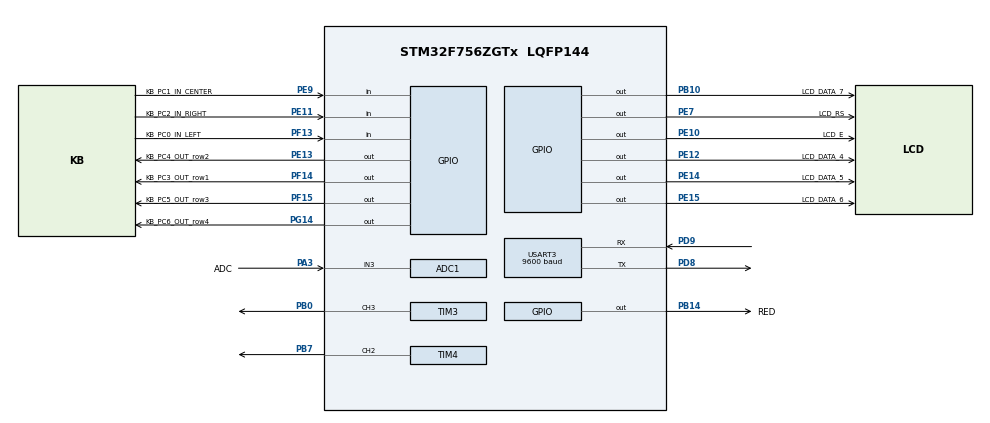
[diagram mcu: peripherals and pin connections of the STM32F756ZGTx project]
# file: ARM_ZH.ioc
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ADC1.Channel-0\#ChannelRegularConversion=ADC_CHANNEL_3
ADC1.NbrOfConversionFlag=1
ADC1.Rank-0\#ChannelRegularConversion=1
ADC1.SamplingTime-0\#ChannelRegularConversion=ADC_SAMPLETIME_3CYCLES
ADC1.master=1
Mcu.Family=STM32F7
Mcu.Name=STM32F756ZGTx
Mcu.Package=LQFP144
NVIC.ADC_IRQn=true\:0\:0\:false\:false\:true\:true\:true
NVIC.PriorityGroup=NVIC_PRIORITYGROUP_4
NVIC.TIM1_UP_TIM10_IRQn=true\:0\:0\:false\:false\:true\:true\:true
NVIC.TIM8_TRG_COM_TIM14_IRQn=true\:0\:0\:false\:false\:true\:true\:true
NVIC.USART3_IRQn=true\:0\:0\:false\:false\:true\:true\:true
PA3.GPIO_Label=ADC
PA3.Signal=ADCx_IN3
PB0.Signal=S_TIM3_CH3
PB10.GPIO_Label=LCD_DATA_7
PB10.Signal=GPIO_Output
PB14.GPIO_Label=RED
PB14.Signal=GPIO_Output
PB7.Signal=S_TIM4_CH2
PD8.Mode=Asynchronous
PD8.Signal=USART3_TX
PD9.Mode=Asynchronous
PD9.Signal=USART3_RX
PE10.GPIO_Label=LCD_E
PE10.Signal=GPIO_Output
PE11.GPIO_Label=KB_PC2_IN_RIGHT
PE11.Signal=GPIO_Input
PE12.GPIO_Label=LCD_DATA_4
PE12.Signal=GPIO_Output
PE13.GPIO_Label=KB_PC4_OUT_row2
PE13.Signal=GPIO_Output
PE14.GPIO_Label=LCD_DATA_5
PE14.Signal=GPIO_Output
PE15.GPIO_Label=LCD_DATA_6
PE15.Signal=GPIO_Output
PE7.GPIO_Label=LCD_RS
PE7.Signal=GPIO_Output
PE9.GPIO_Label=KB_PC1_IN_CENTER
PE9.Signal=GPIO_Input
PF13.GPIO_Label=KB_PC0_IN_LEFT
PF13.Signal=GPIO_Input
PF14.GPIO_Label=KB_PC3_OUT_row1
PF14.Signal=GPIO_Output
PF15.GPIO_Label=KB_PC5_OUT_row3
PF15.Signal=GPIO_Output
PG14.GPIO_Label=KB_PC6_OUT_row4
PG14.Signal=GPIO_Output
ProjectManager.HeapSize=0x200
ProjectManager.StackSize=0x400
ProjectManager.TargetToolchain=STM32CubeIDE
RCC.HSE_VALUE=25000000
RCC.HSI_VALUE=16000000
RCC.LSE_VALUE=32768
RCC.USBFreq_Value=96000000
RCC.VCOOutputFreq_Value=192000000
SH.ADCx_IN3.0=ADC1_IN3,IN3
SH.S_TIM3_CH3.0=TIM3_CH3,PWM Generation3 CH3
SH.S_TIM4_CH2.0=TIM4_CH2,PWM Generation2 CH2
TIM10.AutoReloadPreload=TIM_AUTORELOAD_PRELOAD_ENABLE
TIM10.Period=16000
TIM14.Prescaler=48
TIM3.Channel-PWM\ Generation3\ CH3=TIM_CHANNEL_3
TIM3.Period=100
TIM3.Prescaler=50
TIM3.Pulse-PWM\ Generation3\ CH3=50
TIM4.Channel-PWM\ Generation2\ CH2=TIM_CHANNEL_2
TIM4.Period=100
TIM4.Prescaler=30
TIM4.Pulse-PWM\ Generation2\ CH2=100
USART3.BaudRate=9600
USART3.VirtualMode-Asynchronous=VM_ASYNC
VP_TIM10_VS_ClockSourceINT.Mode=Enable_Timer
VP_TIM14_VS_ClockSourceINT.Mode=Enable_Timer
board=custom

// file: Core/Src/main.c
/* USER CODE BEGIN Header */
/**
  ******************************************************************************
  * @file           : main.c
  * @brief          : Main program body
  ******************************************************************************
  * @attention
  *
  * <h2><center>&copy; Copyright (c) 2021 STMicroelectronics.
  * All rights reserved.</center></h2>
  *
  * This software component is licensed by ST under BSD 3-Clause license,
  * the "License"; You may not use this file except in compliance with the
  * License. You may obtain a copy of the License at:
  *                        opensource.org/licenses/BSD-3-Clause
  *
  ******************************************************************************
  */
/* USER CODE END Header */
#include "main.h"

/* USER CODE BEGIN Includes */
#include "lcd.h"
#include "matrix.h"
#include "String.h"
#include "stdio.h"
/* USER CODE END Includes */

ADC_HandleTypeDef hadc1;

TIM_HandleTypeDef htim3;
TIM_HandleTypeDef htim4;
TIM_HandleTypeDef htim10;
TIM_HandleTypeDef htim14;

UART_HandleTypeDef huart3;

/* USER CODE BEGIN PV */
uint16_t cntr = 0;
uint8_t tmp = 0;
uint8_t irany = 1;
uint8_t ki = 0;
uint8_t pwm = 0;

char row_1[20];
char row_2[20];
char row_3[20];
char row_4[20];
char szoveg[20];

uint8_t tilt = 0;

uint8_t uart = 0;
uint8_t ch = 0;
char str[50];

uint8_t a_off = 0;

uint16_t fesz = 0;

char adc_ki[5];
uint8_t write = 0;

/* USER CODE END PV */

void SystemClock_Config(void);
static void MX_GPIO_Init(void);
static void MX_ADC1_Init(void);
static void MX_TIM10_Init(void);
static void MX_TIM4_Init(void);
static void MX_USART3_UART_Init(void);
static void MX_TIM14_Init(void);
static void MX_TIM3_Init(void);

/* USER CODE BEGIN 0 */

void HAL_TIM_PeriodElapsedCallback (TIM_HandleTypeDef * htim)
{
		cntr++;

		if(cntr == 100)
		{
			if(irany == 0 && tmp == 2)
			{
				irany = 1;
	  			__HAL_TIM_SET_COMPARE(&htim4,TIM_CHANNEL_2,0);
	  			cntr = 0;
			}
			else
			{
				if(irany == 1 && tmp == 2)
				{
					irany = 0;
		  			__HAL_TIM_SET_COMPARE(&htim4,TIM_CHANNEL_2,100);
		  			cntr = 0;
				}
			}
		}

		if(cntr == 500)
		{
			if(irany == 0 && tmp == 3)
			{
				irany = 1;
	  			__HAL_TIM_SET_COMPARE(&htim4,TIM_CHANNEL_2,0);
	  			cntr = 0;
			}
			else
			{
				if(irany == 1 && tmp == 3)
				{
					irany = 0;
		  			__HAL_TIM_SET_COMPARE(&htim4,TIM_CHANNEL_2,100);
		  			cntr = 0;
				}
			}
			cntr = 0;
		}

		if(tmp == 7)
		{
			if(irany == 0 && pwm <= 100)
			{
				__HAL_TIM_SET_COMPARE(&htim4,TIM_CHANNEL_2,pwm);
				pwm++;
			}
			else
			{
				__HAL_TIM_SET_COMPARE(&htim4,TIM_CHANNEL_2,pwm);
				pwm--;
			}
			if(pwm == 100)
			{
				irany = 1;
			}
			if(pwm == 0)
			{
				irany = 0;
			}
		}

		if(htim->Instance == TIM14)
		{
			HAL_ADC_Start(&hadc1);
			uint16_t adc =  HAL_ADC_GetValue(&hadc1);
			fesz = (3300*adc)/4096;

			if(fesz >= 0 && fesz <= 500)
			{
				strcpy(adc_ki,"    ");
				write = 1;
			}
			else
			{
				if(fesz >= 501 && fesz <= 1000)
				{
					strcpy(adc_ki,"X   ");
					write = 1;
				}
				else
				{
					if(fesz >= 1001 && fesz <= 2000)
					{
						strcpy(adc_ki,"XX  ");
						write = 1;
					}
					else
					{
						if(fesz >= 2001 && fesz <= 3000)
						{
							strcpy(adc_ki,"XXX ");
							write = 1;
						}
						else
						{
							strcpy(adc_ki,"XXXX");
							write = 1;
						}
					}
				}
			}

			HAL_GPIO_TogglePin(RED_GPIO_Port, RED_Pin);

		}
}

void LCD ()
{
	char out[2];
	sprintf(out,"%d",tmp);

	HAL_UART_Transmit(&huart3, (uint8_t*) out, sizeof(out), HAL_MAX_DELAY);

	strcpy(row_1,row_2);
	strcpy(row_2,row_3);
	strcpy(row_3,row_4);
	strcpy(row_4,szoveg);

	LCD_cmd(0x01);

	LCD_xy(0,1);
	LCD_string(row_1);

	LCD_xy(0,2);
	LCD_string(row_2);

	LCD_xy(0,3);
	LCD_string(row_3);

	LCD_xy(0,4);
	LCD_string(row_4);

}

void HAL_UART_RxCpltCallback(UART_HandleTypeDef *huart)
{
		if(uart == 13)
		{
			if(strcmp(str,"") == 0)
			{
				tilt = 0;
				ch = 0;
			}
			else
			{
				if(strcmp(str,"A_OFF") == 0)
				{
					a_off = 1;
					ch = 0;
					tilt = 0;
				}
				else
				{
					if(strcmp(str,"D_OFF") == 0)
					{
						a_off = 0;
						ch = 0;
						tilt = 0;
					}
				}
			}

		}
		else
		{
			str[ch++] = uart;
		}

		HAL_UART_Receive_IT(&huart3, &uart, 1);

}

/* USER CODE END 0 */

int main(void)
{

  /* MCU Configuration--------------------------------------------------------*/

  /* Reset of all peripherals, Initializes the Flash interface and the Systick. */
  HAL_Init();

  /* Configure the system clock */
  SystemClock_Config();

  /* Initialize all configured peripherals */
  MX_GPIO_Init();
  MX_ADC1_Init();
  MX_TIM10_Init();
  MX_TIM4_Init();
  MX_USART3_UART_Init();
  MX_TIM14_Init();
  MX_TIM3_Init();
  /* USER CODE BEGIN 2 */
  LCD_init();
  LCD_cmd(0x01);
  HAL_TIM_PWM_Start(&htim4, TIM_CHANNEL_2);
  HAL_TIM_Base_Start_IT(&htim10);
  HAL_TIM_Base_Start_IT(&htim14);
  HAL_TIM_PWM_Start(&htim3, TIM_CHANNEL_3);
  /* USER CODE END 2 */

  /* Infinite loop */
  /* USER CODE BEGIN WHILE */
  while (1)
  {
	  matrix_search();
	  int num = get_key();
	  if(num < 12)
	  {
		  switch(num)
		  {
		  	case 1:
		  		if(tilt == 0)
		  		{
			  		if(tmp != 1 && ki == 0)
			  		{
			  			__HAL_TIM_SET_COMPARE(&htim4,TIM_CHANNEL_2,20);
			  			ki = 1;
			  			tmp = 1;
			  		}
			  		else
			  		{
			  			if(tmp == 1 && ki ==1)
			  			{
			  				__HAL_TIM_SET_COMPARE(&htim4,TIM_CHANNEL_2,0);
			  				ki = 0;
			  				strcpy(szoveg,"OFF");
			  				LCD();
			  			}
			  		}
		  		}
		  	break;

		  	case 2:
		  		if(tmp!=2 && tilt == 0 && a_off == 0)
		  		{
		  			tmp = 2;
		  			strcpy(szoveg,"Connecting");
		  			LCD();
		  		}
		  	break;

		  	case 3:
		  		if(tmp!=3 && tilt == 0 && a_off == 0)
		  		{
		  			tmp = 3;
		  			strcpy(szoveg,"Normal");
		  			LCD();
		  		}
		  	break;

		  	case 4:
		  		if(tmp!=4 && tilt == 0 && a_off == 0)
		  		{
		  			tmp = 4;
		  			__HAL_TIM_SET_COMPARE(&htim4,TIM_CHANNEL_2,5);
		  			strcpy(szoveg,"5%");
		  			LCD();
		  		}
		  	break;

		  	case 5:
		  		if(tmp!=5 && tilt == 0 && a_off == 0)
		  		{
		  			tmp = 5;
		  			__HAL_TIM_SET_COMPARE(&htim4,TIM_CHANNEL_2,50);
		  			strcpy(szoveg,"50%");
		  			LCD();
		  		}
		  	break;

		  	case 6:
		  		if(tmp!=6 && tilt == 0 && a_off == 0)
		  		{
		  			tmp = 6;
		  			__HAL_TIM_SET_COMPARE(&htim4,TIM_CHANNEL_2,98);
		  			strcpy(szoveg,"98% PWM");
		  			LCD();
		  		}
		  	break;

		  	case 7:
		  		if(tmp!=7 && tilt == 0 && a_off == 0)
		  		{
		  			tmp = 7;
		  			strcpy(szoveg,"DANGER!!!!");
		  			LCD();
		  		}
		  	break;

		  	case 8:
		  		if(tilt == 0)
		  		{
			  		if(tmp != 8 && ki == 0)
			  		{
			  			__HAL_TIM_SET_COMPARE(&htim4,TIM_CHANNEL_2,20);
			  			ki = 1;
			  			tmp = 8;
			  		}
			  		else
			  		{
			  			if(tmp == 8 && ki ==1)
			  			{
			  				__HAL_TIM_SET_COMPARE(&htim4,TIM_CHANNEL_2,100);
			  				ki = 0;
			  				strcpy(szoveg,"ON");
			  				LCD();
			  			}
			  		}
		  		}
		  	break;

			case 11:
				  tilt = 1;
				  char text[] = "PROGRAM Active OFF – \"A_OFF\"\n\rProgram Deactive OFF – \"D_OFF\"";
				  HAL_UART_Transmit(&huart3, (uint8_t*) text, sizeof(text), HAL_MAX_DELAY);
				  HAL_UART_Receive_IT(&huart3, &uart, 1);
			break;

		  }
	  }
	  if(write == 1)
	  {
		  write = 0;
		  LCD_xy(12,4);
		  LCD_string(adc_ki);
	  }

    /* USER CODE END WHILE */

  }
}

void SystemClock_Config(void)
{
  RCC_OscInitTypeDef RCC_OscInitStruct = {0};
  RCC_ClkInitTypeDef RCC_ClkInitStruct = {0};
  RCC_PeriphCLKInitTypeDef PeriphClkInitStruct = {0};

  /** Configure the main internal regulator output voltage
  */
  __HAL_RCC_PWR_CLK_ENABLE();
  __HAL_PWR_VOLTAGESCALING_CONFIG(PWR_REGULATOR_VOLTAGE_SCALE3);
  /** Initializes the RCC Oscillators according to the specified parameters
  * in the RCC_OscInitTypeDef structure.
  */
  RCC_OscInitStruct.OscillatorType = RCC_OSCILLATORTYPE_HSI;
  RCC_OscInitStruct.HSIState = RCC_HSI_ON;
  RCC_OscInitStruct.HSICalibrationValue = RCC_HSICALIBRATION_DEFAULT;
  RCC_OscInitStruct.PLL.PLLState = RCC_PLL_NONE;
  if (HAL_RCC_OscConfig(&RCC_OscInitStruct) != HAL_OK)
  {
    Error_Handler();
  }
  /** Initializes the CPU, AHB and APB buses clocks
  */
  RCC_ClkInitStruct.ClockType = RCC_CLOCKTYPE_HCLK|RCC_CLOCKTYPE_SYSCLK
                              |RCC_CLOCKTYPE_PCLK1|RCC_CLOCKTYPE_PCLK2;
  RCC_ClkInitStruct.SYSCLKSource = RCC_SYSCLKSOURCE_HSI;
  RCC_ClkInitStruct.AHBCLKDivider = RCC_SYSCLK_DIV1;
  RCC_ClkInitStruct.APB1CLKDivider = RCC_HCLK_DIV1;
  RCC_ClkInitStruct.APB2CLKDivider = RCC_HCLK_DIV1;

  if (HAL_RCC_ClockConfig(&RCC_ClkInitStruct, FLASH_LATENCY_0) != HAL_OK)
  {
    Error_Handler();
  }
  PeriphClkInitStruct.PeriphClockSelection = RCC_PERIPHCLK_USART3;
  PeriphClkInitStruct.Usart3ClockSelection = RCC_USART3CLKSOURCE_PCLK1;
  if (HAL_RCCEx_PeriphCLKConfig(&PeriphClkInitStruct) != HAL_OK)
  {
    Error_Handler();
  }
}

static void MX_ADC1_Init(void)
{

  ADC_ChannelConfTypeDef sConfig = {0};

  /** Configure the global features of the ADC (Clock, Resolution, Data Alignment and number of conversion)
  */
  hadc1.Instance = ADC1;
  hadc1.Init.ClockPrescaler = ADC_CLOCK_SYNC_PCLK_DIV2;
  hadc1.Init.Resolution = ADC_RESOLUTION_12B;
  hadc1.Init.ScanConvMode = ADC_SCAN_DISABLE;
  hadc1.Init.ContinuousConvMode = DISABLE;
  hadc1.Init.DiscontinuousConvMode = DISABLE;
  hadc1.Init.ExternalTrigConvEdge = ADC_EXTERNALTRIGCONVEDGE_NONE;
  hadc1.Init.ExternalTrigConv = ADC_SOFTWARE_START;
  hadc1.Init.DataAlign = ADC_DATAALIGN_RIGHT;
  hadc1.Init.NbrOfConversion = 1;
  hadc1.Init.DMAContinuousRequests = DISABLE;
  hadc1.Init.EOCSelection = ADC_EOC_SINGLE_CONV;
  if (HAL_ADC_Init(&hadc1) != HAL_OK)
  {
    Error_Handler();
  }
  /** Configure for the selected ADC regular channel its corresponding rank in the sequencer and its sample time.
  */
  sConfig.Channel = ADC_CHANNEL_3;
  sConfig.Rank = ADC_REGULAR_RANK_1;
  sConfig.SamplingTime = ADC_SAMPLETIME_3CYCLES;
  if (HAL_ADC_ConfigChannel(&hadc1, &sConfig) != HAL_OK)
  {
    Error_Handler();
  }

}

static void MX_TIM3_Init(void)
{

  TIM_MasterConfigTypeDef sMasterConfig = {0};
  TIM_OC_InitTypeDef sConfigOC = {0};

  htim3.Instance = TIM3;
  htim3.Init.Prescaler = 50;
  htim3.Init.CounterMode = TIM_COUNTERMODE_UP;
  htim3.Init.Period = 100;
  htim3.Init.ClockDivision = TIM_CLOCKDIVISION_DIV1;
  htim3.Init.AutoReloadPreload = TIM_AUTORELOAD_PRELOAD_DISABLE;
  if (HAL_TIM_PWM_Init(&htim3) != HAL_OK)
  {
    Error_Handler();
  }
  sMasterConfig.MasterOutputTrigger = TIM_TRGO_RESET;
  sMasterConfig.MasterSlaveMode = TIM_MASTERSLAVEMODE_DISABLE;
  if (HAL_TIMEx_MasterConfigSynchronization(&htim3, &sMasterConfig) != HAL_OK)
  {
    Error_Handler();
  }
  sConfigOC.OCMode = TIM_OCMODE_PWM1;
  sConfigOC.Pulse = 50;
  sConfigOC.OCPolarity = TIM_OCPOLARITY_HIGH;
  sConfigOC.OCFastMode = TIM_OCFAST_DISABLE;
  if (HAL_TIM_PWM_ConfigChannel(&htim3, &sConfigOC, TIM_CHANNEL_3) != HAL_OK)
  {
    Error_Handler();
  }
  HAL_TIM_MspPostInit(&htim3);

}

static void MX_TIM4_Init(void)
{

  TIM_MasterConfigTypeDef sMasterConfig = {0};
  TIM_OC_InitTypeDef sConfigOC = {0};

  htim4.Instance = TIM4;
  htim4.Init.Prescaler = 30;
  htim4.Init.CounterMode = TIM_COUNTERMODE_UP;
  htim4.Init.Period = 100;
  htim4.Init.ClockDivision = TIM_CLOCKDIVISION_DIV1;
  htim4.Init.AutoReloadPreload = TIM_AUTORELOAD_PRELOAD_DISABLE;
  if (HAL_TIM_PWM_Init(&htim4) != HAL_OK)
  {
    Error_Handler();
  }
  sMasterConfig.MasterOutputTrigger = TIM_TRGO_RESET;
  sMasterConfig.MasterSlaveMode = TIM_MASTERSLAVEMODE_DISABLE;
  if (HAL_TIMEx_MasterConfigSynchronization(&htim4, &sMasterConfig) != HAL_OK)
  {
    Error_Handler();
  }
  sConfigOC.OCMode = TIM_OCMODE_PWM1;
  sConfigOC.Pulse = 100;
  sConfigOC.OCPolarity = TIM_OCPOLARITY_HIGH;
  sConfigOC.OCFastMode = TIM_OCFAST_DISABLE;
  if (HAL_TIM_PWM_ConfigChannel(&htim4, &sConfigOC, TIM_CHANNEL_2) != HAL_OK)
  {
    Error_Handler();
  }
  HAL_TIM_MspPostInit(&htim4);

}

static void MX_TIM10_Init(void)
{

  htim10.Instance = TIM10;
  htim10.Init.Prescaler = 0;
  htim10.Init.CounterMode = TIM_COUNTERMODE_UP;
  htim10.Init.Period = 16000;
  htim10.Init.ClockDivision = TIM_CLOCKDIVISION_DIV1;
  htim10.Init.AutoReloadPreload = TIM_AUTORELOAD_PRELOAD_ENABLE;
  if (HAL_TIM_Base_Init(&htim10) != HAL_OK)
  {
    Error_Handler();
  }

}

static void MX_TIM14_Init(void)
{

  htim14.Instance = TIM14;
  htim14.Init.Prescaler = 48;
  htim14.Init.CounterMode = TIM_COUNTERMODE_UP;
  htim14.Init.Period = 65535;
  htim14.Init.ClockDivision = TIM_CLOCKDIVISION_DIV1;
  htim14.Init.AutoReloadPreload = TIM_AUTORELOAD_PRELOAD_DISABLE;
  if (HAL_TIM_Base_Init(&htim14) != HAL_OK)
  {
    Error_Handler();
  }

}

static void MX_USART3_UART_Init(void)
{

  huart3.Instance = USART3;
  huart3.Init.BaudRate = 9600;
  huart3.Init.WordLength = UART_WORDLENGTH_8B;
  huart3.Init.StopBits = UART_STOPBITS_1;
  huart3.Init.Parity = UART_PARITY_NONE;
  huart3.Init.Mode = UART_MODE_TX_RX;
  huart3.Init.HwFlowCtl = UART_HWCONTROL_NONE;
  huart3.Init.OverSampling = UART_OVERSAMPLING_16;
  huart3.Init.OneBitSampling = UART_ONE_BIT_SAMPLE_DISABLE;
  huart3.AdvancedInit.AdvFeatureInit = UART_ADVFEATURE_NO_INIT;
  if (HAL_UART_Init(&huart3) != HAL_OK)
  {
    Error_Handler();
  }

}

static void MX_GPIO_Init(void)
{
  GPIO_InitTypeDef GPIO_InitStruct = {0};

  /* GPIO Ports Clock Enable */
  __HAL_RCC_GPIOA_CLK_ENABLE();
  __HAL_RCC_GPIOB_CLK_ENABLE();
  __HAL_RCC_GPIOF_CLK_ENABLE();
  __HAL_RCC_GPIOE_CLK_ENABLE();
  __HAL_RCC_GPIOD_CLK_ENABLE();
  __HAL_RCC_GPIOG_CLK_ENABLE();

  /*Configure GPIO pin Output Level */
  HAL_GPIO_WritePin(GPIOF, KB_PC3_OUT_row1_Pin|KB_PC5_OUT_row3_Pin, GPIO_PIN_RESET);

  /*Configure GPIO pin Output Level */
  HAL_GPIO_WritePin(GPIOE, LCD_RS_Pin|LCD_E_Pin|LCD_DATA_4_Pin|KB_PC4_OUT_row2_Pin
                          |LCD_DATA_5_Pin|LCD_DATA_6_Pin, GPIO_PIN_RESET);

  /*Configure GPIO pin Output Level */
  HAL_GPIO_WritePin(GPIOB, LCD_DATA_7_Pin|RED_Pin, GPIO_PIN_RESET);

  /*Configure GPIO pin Output Level */
  HAL_GPIO_WritePin(KB_PC6_OUT_row4_GPIO_Port, KB_PC6_OUT_row4_Pin, GPIO_PIN_RESET);

  /*Configure GPIO pin : KB_PC0_IN_LEFT_Pin */
  GPIO_InitStruct.Pin = KB_PC0_IN_LEFT_Pin;
  GPIO_InitStruct.Mode = GPIO_MODE_INPUT;
  GPIO_InitStruct.Pull = GPIO_NOPULL;
  HAL_GPIO_Init(KB_PC0_IN_LEFT_GPIO_Port, &GPIO_InitStruct);

  /*Configure GPIO pins : KB_PC3_OUT_row1_Pin KB_PC5_OUT_row3_Pin */
  GPIO_InitStruct.Pin = KB_PC3_OUT_row1_Pin|KB_PC5_OUT_row3_Pin;
  GPIO_InitStruct.Mode = GPIO_MODE_OUTPUT_PP;
  GPIO_InitStruct.Pull = GPIO_NOPULL;
  GPIO_InitStruct.Speed = GPIO_SPEED_FREQ_LOW;
  HAL_GPIO_Init(GPIOF, &GPIO_InitStruct);

  /*Configure GPIO pins : LCD_RS_Pin LCD_E_Pin LCD_DATA_4_Pin KB_PC4_OUT_row2_Pin
                           LCD_DATA_5_Pin LCD_DATA_6_Pin */
  GPIO_InitStruct.Pin = LCD_RS_Pin|LCD_E_Pin|LCD_DATA_4_Pin|KB_PC4_OUT_row2_Pin
                          |LCD_DATA_5_Pin|LCD_DATA_6_Pin;
  GPIO_InitStruct.Mode = GPIO_MODE_OUTPUT_PP;
  GPIO_InitStruct.Pull = GPIO_NOPULL;
  GPIO_InitStruct.Speed = GPIO_SPEED_FREQ_LOW;
  HAL_GPIO_Init(GPIOE, &GPIO_InitStruct);

  /*Configure GPIO pins : KB_PC1_IN_CENTER_Pin KB_PC2_IN_RIGHT_Pin */
  GPIO_InitStruct.Pin = KB_PC1_IN_CENTER_Pin|KB_PC2_IN_RIGHT_Pin;
  GPIO_InitStruct.Mode = GPIO_MODE_INPUT;
  GPIO_InitStruct.Pull = GPIO_NOPULL;
  HAL_GPIO_Init(GPIOE, &GPIO_InitStruct);

  /*Configure GPIO pins : LCD_DATA_7_Pin RED_Pin */
  GPIO_InitStruct.Pin = LCD_DATA_7_Pin|RED_Pin;
  GPIO_InitStruct.Mode = GPIO_MODE_OUTPUT_PP;
  GPIO_InitStruct.Pull = GPIO_NOPULL;
  GPIO_InitStruct.Speed = GPIO_SPEED_FREQ_LOW;
  HAL_GPIO_Init(GPIOB, &GPIO_InitStruct);

  /*Configure GPIO pin : KB_PC6_OUT_row4_Pin */
  GPIO_InitStruct.Pin = KB_PC6_OUT_row4_Pin;
  GPIO_InitStruct.Mode = GPIO_MODE_OUTPUT_PP;
  GPIO_InitStruct.Pull = GPIO_NOPULL;
  GPIO_InitStruct.Speed = GPIO_SPEED_FREQ_LOW;
  HAL_GPIO_Init(KB_PC6_OUT_row4_GPIO_Port, &GPIO_InitStruct);

}

void Error_Handler(void)
{
  __disable_irq();
  while (1)
  {
  }
}

/************************ (C) COPYRIGHT STMicroelectronics *****END OF FILE****/
